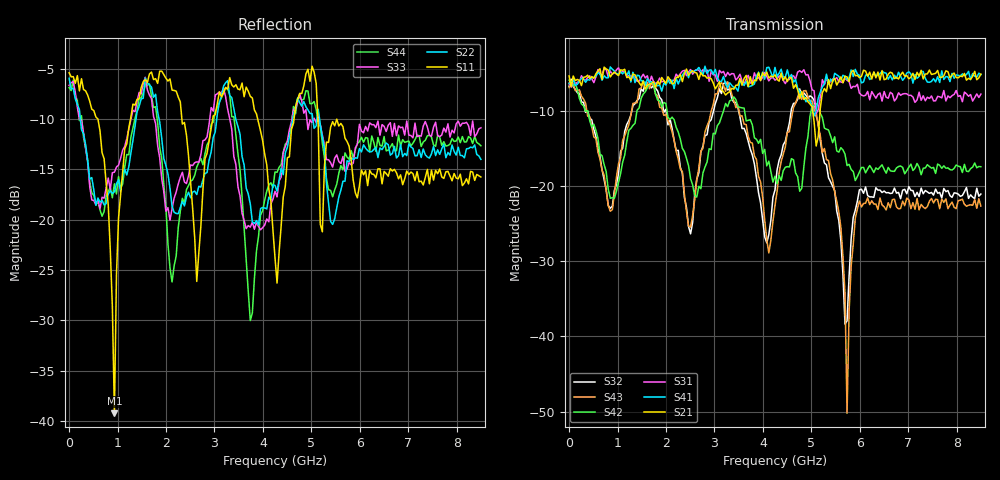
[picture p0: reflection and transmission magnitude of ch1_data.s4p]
#  HZ  S  RI  R  50.00
! Rohde & Schwarz Vector Network Analyzer
! Rohde-Schwarz,ZNBT8-16Port,1318700624100104,2.70
! Created: UTC 10/28/2016, 11:55:06 PM
! freq[Hz]  re:S11  im:S11  re:S12  im:S12  re:S13  im:S13  re:S14  im:S14
!  re:S21  im:S21  re:S22  im:S22  re:S23  im:S23  re:S24  im:S24
!  re:S31  im:S31  re:S32  im:S32  re:S33  im:S33  re:S34  im:S34
!  re:S41  im:S41  re:S42  im:S42  re:S43  im:S43  re:S44  im:S44
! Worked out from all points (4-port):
!   201 points, 100 kHz to 8.5 GHz, reference 50 ohm
!   strongest paths, dB at 100 kHz, 2.125 GHz, 4.25 GHz, 6.375 GHz, 8.5 GHz:
!     S21: -5.4, -6.4, -5.2, -4.9, -5.1
!     S41: -6.4, -5.9, -4.3, -5.3, -5.2
!     S31: -6.4, -6.1, -5.9, -7.8, -7.8
!     S42: -5.9, -10.9, -18.7, -17.8, -17.4
!     S43: -6.9, -12.8, -22.6, -23.1, -22.7
!     S32: -6.8, -12.3, -20.5, -20.6, -21.1
!   lowest |S11| = -39.2 dB at 935.1 MHz (marker M1), VSWR 1.02, Z = 50.8 - j0.764 ohm
!   |S11| at or under -10 dB: 592.8 MHz to 1.268 GHz (675.3 MHz wide, 72.6 % of centre); 3.893 GHz to 4.643 GHz (750.4 MHz wide, 17.6 % of centre); 5.136 GHz to end of sweep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
100000  -0.535 0.0391  0.476 -0.054  0.4678 -0.0446  0.491 -0.0546
        0.5354 -0.0478  -0.4902 0.1141  0.5153 -0.0799  0.5273 -0.085
        0.4786 -0.0495  0.4524 -0.0753  -0.4502 0.1119  0.4827 -0.0728
        0.4767 -0.0488  0.4966 -0.089  0.4438 -0.0748  -0.437 0.1157
9.35089e8  0.00791 -0.00752  -0.1881 -0.5631  -0.1762 -0.4959  -0.1967 -0.5209
           -0.2056 -0.5333  -0.1357 0.0218  0.0842 0.0167  0.0724 -0.0342
           -0.1784 -0.5331  0.0921 0.0171  -0.1661 -0.0447  0.0914 0.0142
           -0.1721 -0.5536  0.0754 -0.0345  0.0879 0.0143  -0.1504 0.00735
1.70008e9  -0.5273 -0.1181  -0.4498 0.1799  -0.4986 0.1694  -0.411 0.2258
           -0.4532 0.153  -0.2551 0.377  0.3146 -0.3956  0.2189 -0.404
           -0.4944 0.2062  0.3004 -0.3324  -0.299 0.2649  0.2864 -0.4067
           -0.441 0.2205  0.1988 -0.4411  0.2762 -0.3939  -0.2069 0.3552
5.05754e9  -0.5115 0.1729  0.0391 0.2735  -0.0032 0.4264  -0.1338 0.2771
           0.0389 0.2632  0.233 0.1624  -0.3119 -0.0376  -0.3315 -0.0167
           -0.00313 0.4285  -0.3679 -0.035  -0.0487 0.3151  -0.3634 -0.0383
           -0.1277 0.2625  -0.3419 -0.0153  -0.3172 -0.0356  0.2665 0.2788
5.737532e9  -0.2028 0.1363  0.4644 0.2058  0.425 0.2098  0.4924 0.2983
            0.4793 0.2245  0.0796 0.1791  -0.00259 -0.0124  -0.0538 0.1234
            0.4544 0.2139  -0.00324 -0.0123  0.0173 0.1773  -0.00287 0.000616
            0.4087 0.3008  -0.0476 0.128  -0.00304 0.000514  0.0563 0.1965
5.99253e9  0.1449 0.026  0.5428 -0.195  0.4019 -0.1183  0.5264 -0.1121
           0.4921 -0.1792  0.0841 0.2091  -0.024 -0.0868  -0.0725 0.0945
           0.3929 -0.1302  -0.0257 -0.0906  -0.0443 0.294  -0.0181 -0.0773
           0.5304 -0.1201  -0.0734 0.0994  -0.0197 -0.077  0.043 0.2401
8.5e9  0.1626 0.00852  0.4612 -0.2078  0.4038 -0.1381  0.4759 -0.1172
       0.5129 -0.209  0.0744 0.1847  -0.0267 -0.0948  -0.0857 0.1069
       0.3855 -0.1314  -0.0271 -0.084  -0.0439 0.2824  -0.022 -0.0706
       0.5305 -0.1378  -0.0794 0.1082  -0.0221 -0.0701  0.0461 0.2281
